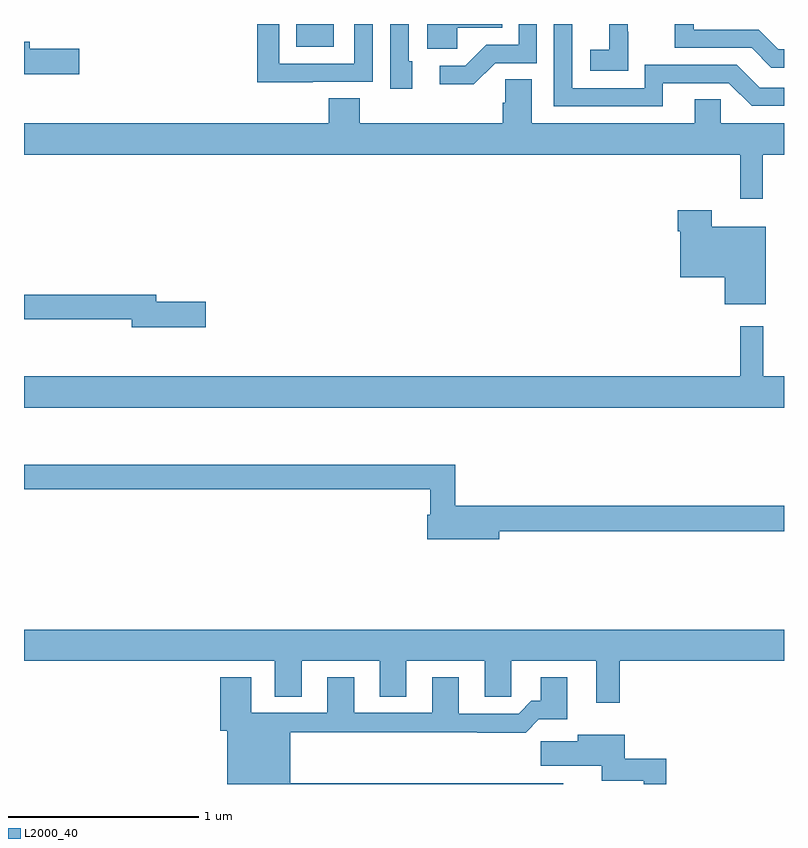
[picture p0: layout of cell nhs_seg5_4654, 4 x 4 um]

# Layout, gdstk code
import gdstk
lib = gdstk.Library(unit=1e-6, precision=1e-09)
def R(c, l, rs):  # rectangles x0, y0, x1, y1
    for r in rs: c.add(gdstk.rectangle(r[:2], r[2:], *l))
def P(c, l, *ps):  # polygons
    for p in ps: c.add(gdstk.Polygon(p, *l))
L2000_40 = (2000, 40)

nhs_seg5_4654 = lib.new_cell('nhs_seg5_4654')
R(nhs_seg5_4654, L2000_40, [(386.432,838.679,386.629,838.799)])
P(nhs_seg5_4654, L2000_40, [(388.179,838.759),(388.178,838.759),(388.178,838.799),(388.079,838.799),(388.079,838.663),(387.981,838.663),(387.981,838.553),(388.179,838.553)],
  [(387.48,838.593),(387.699,838.593),(387.699,838.799),(387.603,838.799),(387.603,838.689),(387.434,838.689),(387.323,838.578),(387.189,838.578),(387.189,838.481),(387.367,838.481)],
  [(389,838.666),(388.97,838.666),(388.866,838.77),(388.524,838.77),(388.524,838.799),(388.426,838.799),(388.426,838.674),(388.829,838.674),(388.934,838.569),(389,838.569)],
  [(388.363,838.488),(388.71,838.488),(388.83,838.368),(389,838.368),(389,838.464),(388.872,838.464),(388.752,838.584),(388.266,838.584),(388.266,838.461),(387.885,838.461),(387.885,838.799),(387.789,838.799),(387.789,838.365),(388.363,838.365)],
  [(387.043,838.602),(387.024,838.602),(387.024,838.799),(386.928,838.799),(386.928,838.458),(387.043,838.458)],
  [(387.279,838.778),(387.518,838.778),(387.518,838.799),(387.122,838.799),(387.122,838.67),(387.279,838.67)],
  [(386.519,838.494),(386.835,838.494),(386.835,838.799),(386.739,838.799),(386.739,838.59),(386.343,838.59),(386.343,838.799),(386.227,838.799),(386.227,838.493),(386.519,838.493)],
  [(385.291,838.67),(385.03,838.67),(385.03,838.706),(385,838.706),(385,838.535),(385.291,838.535)],
  [(388.889,838.112),(389,838.112),(389,838.276),(388.668,838.276),(388.668,838.403),(388.529,838.403),(388.529,838.276),(387.673,838.276),(387.673,838.508),(387.534,838.508),(387.534,838.385),(387.521,838.385),(387.521,838.276),(386.768,838.276),(386.768,838.409),(386.603,838.409),(386.603,838.276),(385,838.276),(385,838.112),(388.771,838.112),(388.771,837.879),(388.889,837.879)],
  [(388.903,837.733),(388.62,837.733),(388.62,837.82),(388.442,837.82),(388.442,837.707),(388.454,837.707),(388.454,837.467),(388.688,837.467),(388.688,837.323),(388.903,837.323)],
  [(385.957,837.338),(385.696,837.338),(385.696,837.374),(385,837.374),(385,837.246),(385.568,837.246),(385.568,837.203),(385.957,837.203)],
  [(389,836.944),(388.89,836.944),(388.89,837.208),(388.771,837.208),(388.771,836.944),(385,836.944),(385,836.78),(389,836.78)],
  [(387.502,836.128),(389,836.128),(389,836.264),(387.269,836.264),(387.269,836.479),(385,836.479),(385,836.35),(387.137,836.35),(387.137,836.215),(387.122,836.215),(387.122,836.086),(387.502,836.086)],
  [(388.135,835.448),(389,835.448),(389,835.612),(385,835.612),(385,835.448),(386.321,835.448),(386.321,835.258),(386.461,835.258),(386.461,835.448),(386.873,835.448),(386.873,835.258),(387.013,835.258),(387.013,835.448),(387.425,835.448),(387.425,835.258),(387.564,835.258),(387.564,835.448),(388.013,835.448),(388.013,835.227),(388.135,835.227)],
  [(387.838,834.802),(386.401,834.802),(386.401,835.072),(387.385,835.072),(387.385,835.07),(387.641,835.07),(387.71,835.139),(387.859,835.139),(387.859,835.36),(387.719,835.36),(387.719,835.237),(387.67,835.237),(387.603,835.17),(387.289,835.17),(387.289,835.36),(387.149,835.36),(387.149,835.173),(386.737,835.173),(386.737,835.36),(386.597,835.36),(386.597,835.173),(386.197,835.173),(386.197,835.36),(386.033,835.36),(386.033,835.08),(386.069,835.08),(386.069,834.799),(387.838,834.799)],
  [(388.379,834.932),(388.163,834.932),(388.163,835.057),(387.914,835.057),(387.914,835.025),(387.72,835.025),(387.72,834.896),(388.04,834.896),(388.04,834.816),(388.262,834.816),(388.262,834.799),(388.379,834.799)])

lib.write_gds('nhs_seg5_4654.gds')
